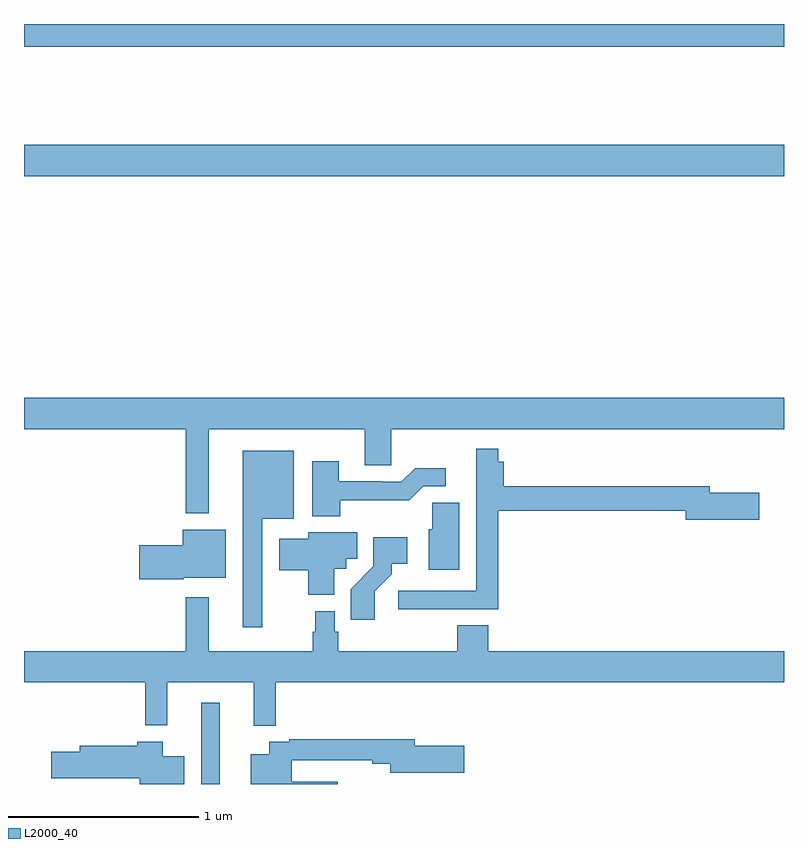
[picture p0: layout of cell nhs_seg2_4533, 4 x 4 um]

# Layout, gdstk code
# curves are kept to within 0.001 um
import gdstk
lib = gdstk.Library(unit=1e-6, precision=1e-09)
def R(c, l, rs):  # rectangles x0, y0, x1, y1
    for r in rs: c.add(gdstk.rectangle(r[:2], r[2:], *l))
def P(c, l, *ps):  # polygons
    for p in ps: c.add(gdstk.Polygon(p, *l))
L2000_40 = (2000, 40)

nhs_seg2_4533 = lib.new_cell('nhs_seg2_4533')
R(nhs_seg2_4533, L2000_40, [(357.933,613.8,358.03,614.227), (357,617,361,617.164), (357,617.68,361,617.8)])
P(nhs_seg2_4533, L2000_40, [(357.973,615.668),(358.793,615.668),(358.793,615.478),(358.932,615.478),(358.932,615.668),(361,615.668),(361,615.832),(357,615.832),(357,615.668),(357.852,615.668),(357.852,615.224),(357.973,615.224)],
  [(359.195,614.721),(359.495,614.721),(359.495,615.238),(360.482,615.238),(360.482,615.191),(360.871,615.191),(360.871,615.333),(360.61,615.333),(360.61,615.367),(359.525,615.367),(359.525,615.496),(359.495,615.496),(359.495,615.565),(359.379,615.565),(359.379,614.817),(358.971,614.817),(358.971,614.719),(359.195,614.719)],
  [(358.255,615.197),(358.42,615.197),(358.42,615.553),(358.151,615.553),(358.151,614.625),(358.255,614.625)],
  [(358.665,615.294),(359.027,615.293),(359.1,615.366),(359.221,615.366),(359.221,615.463),(359.059,615.463),(358.986,615.39),(358.886,615.39),(358.886,615.393),(358.657,615.393),(358.657,615.499),(358.517,615.499),(358.517,615.209),(358.665,615.209)],
  [(359.29,615.281),(359.148,615.281),(359.148,615.141),(359.129,615.141),(359.129,614.928),(359.29,614.928)],
  [(357.84,614.885),(358.063,614.885),(358.063,615.139),(357.836,615.139),(357.836,615.056),(357.606,615.056),(357.606,614.878),(357.84,614.878)],
  [(358.633,614.934),(358.695,614.934),(358.695,614.986),(358.754,614.986),(358.754,615.124),(358.496,615.124),(358.496,615.091),(358.344,615.091),(358.344,614.926),(358.496,614.926),(358.496,614.795),(358.633,614.795)],
  [(358.846,614.815),(358.936,614.905),(358.936,614.96),(359.017,614.96),(359.017,615.1),(358.839,615.1),(358.839,614.945),(358.72,614.826),(358.72,614.664),(358.846,614.664)],
  [(358.325,614.336),(361,614.336),(361,614.5),(359.444,614.5),(359.444,614.636),(359.279,614.636),(359.279,614.5),(358.655,614.5),(358.655,614.601),(358.635,614.601),(358.635,614.71),(358.534,614.71),(358.534,614.601),(358.519,614.601),(358.519,614.5),(357.973,614.5),(357.973,614.782),(357.852,614.782),(357.852,614.5),(357,614.5),(357,614.336),(357.637,614.336),(357.637,614.108),(357.755,614.108),(357.755,614.336),(358.208,614.336),(358.208,614.107),(358.325,614.107)],
  [(358.651,613.813),(358.408,613.813),(358.408,613.926),(358.832,613.926),(358.832,613.906),(358.928,613.906),(358.928,613.859),(359.317,613.859),(359.317,614.001),(359.056,614.001),(359.056,614.035),(358.396,614.035),(358.396,614.022),(358.292,614.022),(358.292,613.957),(358.193,613.957),(358.193,613.8),(358.651,613.8)],
  [(357.844,613.945),(357.73,613.945),(357.73,614.023),(357.596,614.023),(357.596,614.001),(357.293,614.001),(357.293,613.971),(357.144,613.971),(357.144,613.829),(357.608,613.829),(357.608,613.8),(357.844,613.8)])

lib.write_gds('nhs_seg2_4533.gds')
